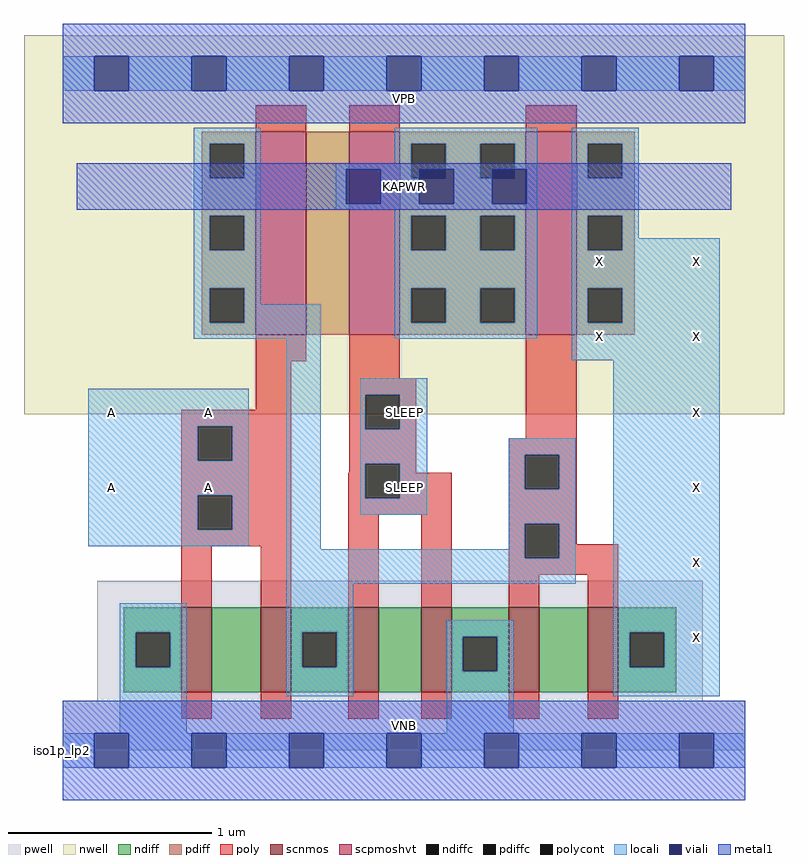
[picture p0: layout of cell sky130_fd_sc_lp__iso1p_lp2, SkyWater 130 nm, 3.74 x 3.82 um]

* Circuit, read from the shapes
.subckt sky130_fd_sc_lp__iso1p_lp2 A SLEEP KAPWR VGND VNB VPB VPWR X
XM1 n1 A VGND VNB sky130_fd_pr__nfet_01v8 w=0.42 l=0.15
XM2 n2 A n1 VNB sky130_fd_pr__nfet_01v8 w=0.42 l=0.15
XM3 n3 SLEEP n2 VNB sky130_fd_pr__nfet_01v8 w=0.42 l=0.15
XM4 VGND SLEEP n3 VNB sky130_fd_pr__nfet_01v8 w=0.42 l=0.15
XM5 n4 n2 VGND VNB sky130_fd_pr__nfet_01v8 w=0.42 l=0.15
XM6 X n2 n4 VNB sky130_fd_pr__nfet_01v8 w=0.42 l=0.15
XM7 n5 A n2 VPB sky130_fd_pr__pfet_01v8_hvt w=1 l=0.25
XM8 KAPWR SLEEP n5 VPB sky130_fd_pr__pfet_01v8_hvt w=1 l=0.25
XM9 X n2 KAPWR VPB sky130_fd_pr__pfet_01v8_hvt w=1 l=0.25
.ends

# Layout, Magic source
magic
tech sky130A
magscale 1 2
<< nwell >>
rect -38 331 710 704
<< pwell >>
rect 34 49 630 167
rect 0 0 672 49
<< scnmos >>
rect 117 57 147 141
rect 195 57 225 141
rect 281 57 311 141
rect 353 57 383 141
rect 439 57 469 141
rect 517 57 547 141
<< scpmoshvt >>
rect 190 409 240 609
rect 282 409 332 609
rect 456 409 506 609
<< ndiff >>
rect 60 116 117 141
rect 60 82 72 116
rect 106 82 117 116
rect 60 57 117 82
rect 147 57 195 141
rect 225 116 281 141
rect 225 82 236 116
rect 270 82 281 116
rect 225 57 281 82
rect 311 57 353 141
rect 383 112 439 141
rect 383 78 394 112
rect 428 78 439 112
rect 383 57 439 78
rect 469 57 517 141
rect 547 116 604 141
rect 547 82 558 116
rect 592 82 604 116
rect 547 57 604 82
<< pdiff >>
rect 137 597 190 609
rect 137 563 145 597
rect 179 563 190 597
rect 137 526 190 563
rect 137 492 145 526
rect 179 492 190 526
rect 137 455 190 492
rect 137 421 145 455
rect 179 421 190 455
rect 137 409 190 421
rect 240 409 282 609
rect 332 597 456 609
rect 332 563 343 597
rect 377 563 411 597
rect 445 563 456 597
rect 332 526 456 563
rect 332 492 343 526
rect 377 492 411 526
rect 445 492 456 526
rect 332 455 456 492
rect 332 421 343 455
rect 377 421 411 455
rect 445 421 456 455
rect 332 409 456 421
rect 506 597 563 609
rect 506 563 517 597
rect 551 563 563 597
rect 506 526 563 563
rect 506 492 517 526
rect 551 492 563 526
rect 506 455 563 492
rect 506 421 517 455
rect 551 421 563 455
rect 506 409 563 421
<< ndiffc >>
rect 72 82 106 116
rect 236 82 270 116
rect 394 78 428 112
rect 558 82 592 116
<< pdiffc >>
rect 145 563 179 597
rect 145 492 179 526
rect 145 421 179 455
rect 343 563 377 597
rect 411 563 445 597
rect 343 492 377 526
rect 411 492 445 526
rect 343 421 377 455
rect 411 421 445 455
rect 517 563 551 597
rect 517 492 551 526
rect 517 421 551 455
<< poly >>
rect 190 609 240 635
rect 282 609 332 635
rect 456 609 506 635
rect 190 383 240 409
rect 190 335 225 383
rect 117 319 225 335
rect 117 285 133 319
rect 167 285 225 319
rect 117 251 225 285
rect 282 366 332 409
rect 282 350 348 366
rect 282 316 298 350
rect 332 316 348 350
rect 282 282 348 316
rect 456 307 506 409
rect 282 273 298 282
rect 117 217 133 251
rect 167 217 225 251
rect 117 201 225 217
rect 117 141 147 201
rect 195 141 225 201
rect 281 248 298 273
rect 332 273 348 282
rect 439 291 506 307
rect 332 248 383 273
rect 281 232 383 248
rect 281 141 311 232
rect 353 141 383 232
rect 439 257 455 291
rect 489 257 506 291
rect 439 223 506 257
rect 439 189 455 223
rect 489 203 506 223
rect 489 189 547 203
rect 439 173 547 189
rect 439 141 469 173
rect 517 141 547 173
rect 117 31 147 57
rect 195 31 225 57
rect 281 31 311 57
rect 353 31 383 57
rect 439 31 469 57
rect 517 31 547 57
<< polycont >>
rect 133 285 167 319
rect 298 316 332 350
rect 133 217 167 251
rect 298 248 332 282
rect 455 257 489 291
rect 455 189 489 223
<< locali >>
rect 0 649 31 683
rect 65 649 127 683
rect 161 649 223 683
rect 257 649 319 683
rect 353 649 415 683
rect 449 649 511 683
rect 545 649 607 683
rect 641 649 672 683
rect 129 597 195 613
rect 129 563 145 597
rect 179 563 195 597
rect 327 597 467 613
rect 327 578 343 597
rect 129 526 195 563
rect 269 572 343 578
rect 377 572 411 597
rect 445 572 467 597
rect 269 538 279 572
rect 313 563 343 572
rect 385 563 411 572
rect 313 538 351 563
rect 385 538 423 563
rect 457 538 467 572
rect 269 532 467 538
rect 129 492 145 526
rect 179 492 195 526
rect 129 455 195 492
rect 129 421 145 455
rect 179 439 195 455
rect 327 526 467 532
rect 327 492 343 526
rect 377 492 411 526
rect 445 492 467 526
rect 327 455 467 492
rect 179 421 254 439
rect 129 405 254 421
rect 327 421 343 455
rect 377 421 411 455
rect 445 421 467 455
rect 327 405 467 421
rect 501 597 567 613
rect 501 563 517 597
rect 551 563 567 597
rect 501 526 567 563
rect 501 492 517 526
rect 551 504 567 526
rect 551 492 647 504
rect 501 455 647 492
rect 501 421 517 455
rect 551 421 647 455
rect 25 319 183 356
rect 25 285 133 319
rect 167 285 183 319
rect 25 251 183 285
rect 25 217 133 251
rect 167 217 183 251
rect 25 201 183 217
rect 220 198 254 405
rect 501 384 647 421
rect 293 350 359 366
rect 293 316 298 350
rect 332 316 359 350
rect 293 282 359 316
rect 293 248 298 282
rect 332 248 359 282
rect 293 232 359 248
rect 439 291 505 307
rect 439 257 455 291
rect 489 257 505 291
rect 439 223 505 257
rect 439 198 455 223
rect 220 189 455 198
rect 489 189 505 223
rect 220 164 505 189
rect 56 116 122 145
rect 56 82 72 116
rect 106 82 122 116
rect 56 17 122 82
rect 220 116 286 164
rect 220 82 236 116
rect 270 82 286 116
rect 220 53 286 82
rect 378 112 444 128
rect 378 78 394 112
rect 428 78 444 112
rect 378 17 444 78
rect 542 116 647 384
rect 542 82 558 116
rect 592 82 647 116
rect 542 53 647 82
rect 0 -17 31 17
rect 65 -17 127 17
rect 161 -17 223 17
rect 257 -17 319 17
rect 353 -17 415 17
rect 449 -17 511 17
rect 545 -17 607 17
rect 641 -17 672 17
<< viali >>
rect 31 649 65 683
rect 127 649 161 683
rect 223 649 257 683
rect 319 649 353 683
rect 415 649 449 683
rect 511 649 545 683
rect 607 649 641 683
rect 279 538 313 572
rect 351 563 377 572
rect 377 563 385 572
rect 423 563 445 572
rect 445 563 457 572
rect 351 538 385 563
rect 423 538 457 563
rect 31 -17 65 17
rect 127 -17 161 17
rect 223 -17 257 17
rect 319 -17 353 17
rect 415 -17 449 17
rect 511 -17 545 17
rect 607 -17 641 17
<< metal1 >>
rect 0 683 672 715
rect 0 649 31 683
rect 65 649 127 683
rect 161 649 223 683
rect 257 649 319 683
rect 353 649 415 683
rect 449 649 511 683
rect 545 649 607 683
rect 641 649 672 683
rect 0 617 672 649
rect 14 572 658 578
rect 14 538 279 572
rect 313 538 351 572
rect 385 538 423 572
rect 457 538 658 572
rect 14 532 658 538
rect 0 17 672 49
rect 0 -17 31 17
rect 65 -17 127 17
rect 161 -17 223 17
rect 257 -17 319 17
rect 353 -17 415 17
rect 449 -17 511 17
rect 545 -17 607 17
rect 641 -17 672 17
rect 0 -49 672 -17
<< labels >>
flabel pwell s 0 0 672 49 0 FreeSans 200 0 0 0 VNB
port 5 nsew ground bidirectional
flabel nwell s 0 617 672 666 0 FreeSans 200 0 0 0 VPB
port 6 nsew power bidirectional
rlabel comment s 0 0 0 0 4 iso1p_lp2
flabel metal1 s 14 532 658 578 0 FreeSans 340 0 0 0 KAPWR
port 3 nsew power bidirectional
flabel metal1 s 0 617 672 666 0 FreeSans 340 0 0 0 VPWR
port 7 nsew power bidirectional
flabel metal1 s 0 0 672 49 0 FreeSans 340 0 0 0 VGND
port 4 nsew ground bidirectional
flabel locali s 31 242 65 276 0 FreeSans 340 0 0 0 A
port 1 nsew signal input
flabel locali s 31 316 65 350 0 FreeSans 340 0 0 0 A
port 1 nsew signal input
flabel locali s 127 242 161 276 0 FreeSans 340 0 0 0 A
port 1 nsew signal input
flabel locali s 127 316 161 350 0 FreeSans 340 0 0 0 A
port 1 nsew signal input
flabel locali s 319 316 353 350 0 FreeSans 340 0 0 0 SLEEP
port 2 nsew signal input
flabel locali s 319 242 353 276 0 FreeSans 340 0 0 0 SLEEP
port 2 nsew signal input
flabel locali s 511 390 545 424 0 FreeSans 340 0 0 0 X
port 8 nsew signal output
flabel locali s 511 464 545 498 0 FreeSans 340 0 0 0 X
port 8 nsew signal output
flabel locali s 607 242 641 276 0 FreeSans 340 0 0 0 X
port 8 nsew signal output
flabel locali s 607 390 641 424 0 FreeSans 340 0 0 0 X
port 8 nsew signal output
flabel locali s 607 464 641 498 0 FreeSans 340 0 0 0 X
port 8 nsew signal output
flabel locali s 607 316 641 350 0 FreeSans 340 0 0 0 X
port 8 nsew signal output
flabel locali s 607 94 641 128 0 FreeSans 340 0 0 0 X
port 8 nsew signal output
flabel locali s 607 168 641 202 0 FreeSans 340 0 0 0 X
port 8 nsew signal output
<< properties >>
string LEFsite unit
string LEFclass CORE
string FIXED_BBOX 0 0 672 666
string GDS_FILE $PDKPATH/libs.ref/sky130_fd_sc_lp/gds/sky130_fd_sc_lp.gds
string LEFsymmetry X Y R90
string GDS_END 5640302
string GDS_START 5633328
<< end >>
